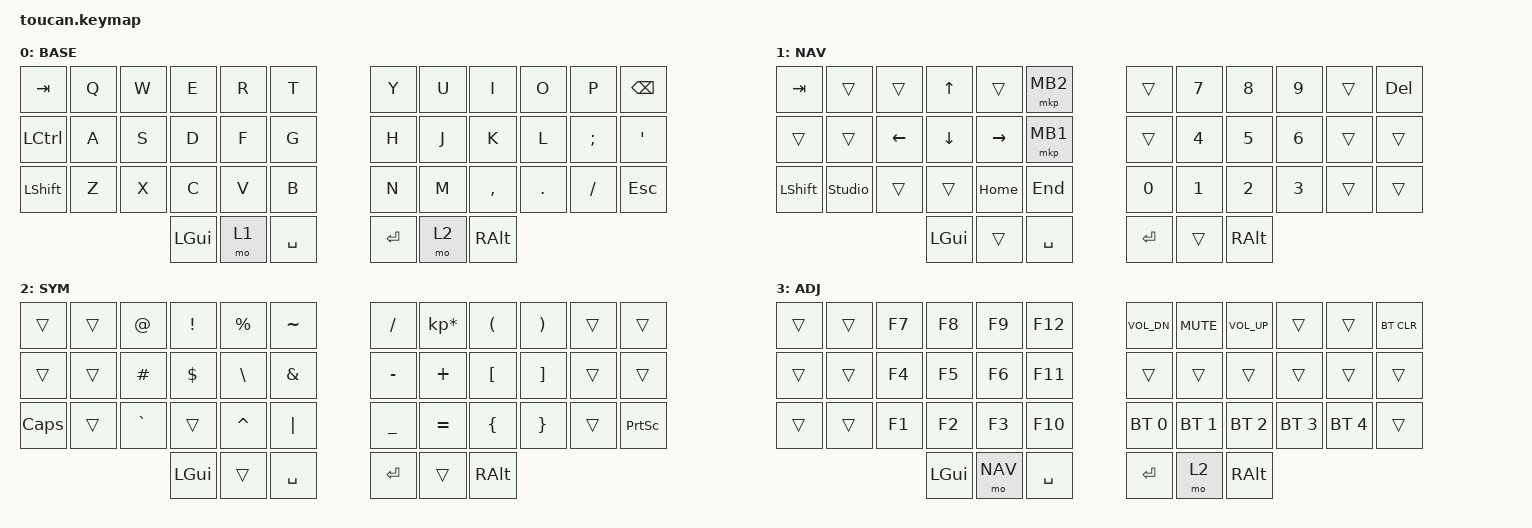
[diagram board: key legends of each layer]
#include <behaviors.dtsi>
#include <dt-bindings/zmk/keys.h>
#include <dt-bindings/zmk/bt.h>
#include <dt-bindings/zmk/outputs.h>

#define BASE 0
#define NAV  1
#define SYM  2
#define ADJ  3

/ {
    conditional_layers {
        compatible = "zmk,conditional-layers";
        tri_layer {
            if-layers = <1 2>;
            then-layer = <3>;
        };
    };

    keymap {
        compatible = "zmk,keymap";

        base {
            display-name = "BASE";
            bindings = <
                &kp TAB   &kp Q &kp W &kp E &kp R &kp T   &kp Y &kp U  &kp I     &kp O   &kp P    &kp BSPC
                &kp LCTRL &kp A &kp S &kp D &kp F &kp G   &kp H &kp J  &kp K     &kp L   &kp SEMI &kp SQT
                &kp LSHFT &kp Z &kp X &kp C &kp V &kp B   &kp N &kp M  &kp COMMA &kp DOT &kp FSLH &kp ESC
                                &kp LGUI &mo 1 &kp SPACE   &kp RET &mo 2 &kp RALT
            >;
        };

        nav {
            display-name = "NAV";
            bindings = <
                &kp TAB    &trans          &trans    &kp UP    &trans     &mkp MB2   &trans   &kp N7  &kp N8   &kp N9  &trans &kp DEL
                &trans     &trans          &kp LEFT  &kp DOWN  &kp RIGHT  &mkp MB1   &trans   &kp N4  &kp N5   &kp N6  &trans &trans
                &kp LSHFT  &studio_unlock  &trans    &trans    &kp HOME   &kp END    &kp N0   &kp N1  &kp N2   &kp N3  &trans &trans
                                                     &kp LGUI  &trans     &kp SPACE  &kp RET  &trans  &kp RALT
            >;
        };

        sym {
            display-name = "SYM";
            bindings = <
                &trans    &trans  &kp AT     &kp EXCL  &kp PRCNT  &kp TILDE   &kp FSLH   &kp KP_MULTIPLY  &kp LPAR  &kp RPAR  &trans &trans
                &trans    &trans  &kp HASH   &kp DLLR  &kp BSLH   &kp AMPS    &kp MINUS  &kp PLUS         &kp LBKT  &kp RBKT  &trans &trans
                &kp CAPS  &trans  &kp GRAVE  &trans    &kp CARET  &kp PIPE    &kp UNDER  &kp EQUAL        &kp LBRC  &kp RBRC  &trans &kp PSCRN
                                             &kp LGUI  &trans     &kp SPACE   &kp RET    &trans           &kp RALT
            >;
        };

        adj {
            display-name = "ADJ";
            bindings = <
                &trans &trans  &kp F7  &kp F8    &kp F9   &kp F12    &kp C_VOL_DN &kp C_MUTE   &kp C_VOL_UP &trans       &trans       &bt BT_CLR
                &trans &trans  &kp F4  &kp F5    &kp F6   &kp F11    &trans       &trans       &trans       &trans       &trans       &trans
                &trans &trans  &kp F1  &kp F2    &kp F3   &kp F10    &bt BT_SEL 0 &bt BT_SEL 1 &bt BT_SEL 2 &bt BT_SEL 3 &bt BT_SEL 4 &trans
                                       &kp LGUI  &mo NAV  &kp SPACE  &kp RET      &mo 2        &kp RALT
            >;
        };
        extra_1 {
                status = "reserved";
        };

        extra_2 {
                status = "reserved";
        };

        extra_3 {
                status = "reserved";
        };
    };
};
